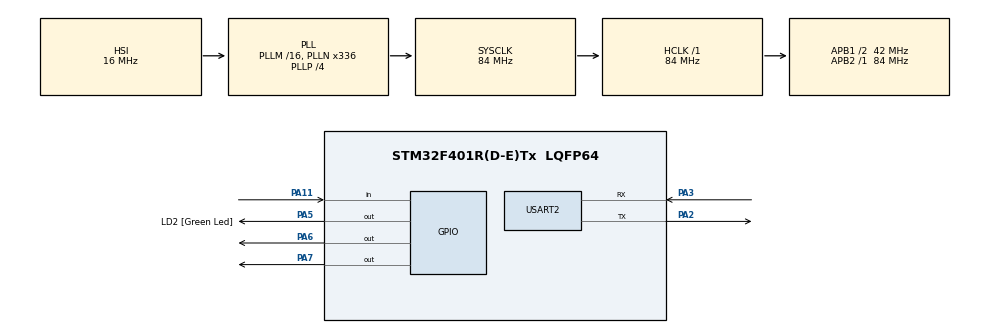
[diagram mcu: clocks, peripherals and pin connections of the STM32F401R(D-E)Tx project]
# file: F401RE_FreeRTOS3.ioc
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FREERTOS.Tasks01=defaultTask,0,128,StartDefaultTask,Default,NULL,Dynamic,NULL,NULL;myTask02,0,128,StartTask02,Default,NULL,Dynamic,NULL,NULL
FREERTOS.Timers01=myTimer01,Callback01,osTimerPeriodic,Default,NULL,Dynamic,NULL;myTimer02,Callback02,osTimerOnce,Default,NULL,Dynamic,NULL
FREERTOS.configTIMER_TASK_PRIORITY=6
FREERTOS.configUSE_NEWLIB_REENTRANT=1
FREERTOS.configUSE_TIMERS=1
Mcu.Family=STM32F4
Mcu.Name=STM32F401R(D-E)Tx
Mcu.Package=LQFP64
NVIC.PriorityGroup=NVIC_PRIORITYGROUP_4
NVIC.TIM4_IRQn=true\:15\:0\:false\:false\:true\:false\:false\:true\:true
NVIC.TimeBase=TIM4_IRQn
NVIC.TimeBaseIP=TIM4
PA11.Signal=GPIO_Input
PA13.GPIO_Label=TMS
PA13.Mode=Serial_Wire
PA13.Signal=SYS_JTMS-SWDIO
PA14.GPIO_Label=TCK
PA14.Mode=Serial_Wire
PA14.Signal=SYS_JTCK-SWCLK
PA2.Mode=Asynchronous
PA2.Signal=USART2_TX
PA3.Mode=Asynchronous
PA3.Signal=USART2_RX
PA5.GPIO_Label=LD2 [Green Led]
PA5.GPIO_Mode=GPIO_MODE_OUTPUT_PP
PA5.GPIO_PuPd=GPIO_NOPULL
PA5.GPIO_Speed=GPIO_SPEED_FREQ_LOW
PA5.Signal=GPIO_Output
PA6.Signal=GPIO_Output
PA7.Signal=GPIO_Output
PB3.GPIO_Label=SWO
PB3.Signal=SYS_JTDO-SWO
PC14-OSC32_IN.Mode=LSE-External-Oscillator
PC14-OSC32_IN.Signal=RCC_OSC32_IN
PC15-OSC32_OUT.Mode=LSE-External-Oscillator
PC15-OSC32_OUT.Signal=RCC_OSC32_OUT
PH0\ -\ OSC_IN.Mode=HSE-External-Oscillator
PH0\ -\ OSC_IN.Signal=RCC_OSC_IN
PH1\ -\ OSC_OUT.Mode=HSE-External-Oscillator
PH1\ -\ OSC_OUT.Signal=RCC_OSC_OUT
ProjectManager.HeapSize=0x200
ProjectManager.StackSize=0x400
ProjectManager.TargetToolchain=STM32CubeIDE
RCC.48MHZClocksFreq_Value=48000000
RCC.AHBFreq_Value=84000000
RCC.APB1CLKDivider=RCC_HCLK_DIV2
RCC.APB1Freq_Value=42000000
RCC.APB1TimFreq_Value=84000000
RCC.APB2Freq_Value=84000000
RCC.APB2TimFreq_Value=84000000
RCC.CortexFreq_Value=84000000
RCC.HCLKFreq_Value=84000000
RCC.HSE_VALUE=8000000
RCC.HSI_VALUE=16000000
RCC.PLLN=336
RCC.PLLP=RCC_PLLP_DIV4
RCC.PLLQ=7
RCC.SYSCLKFreq_VALUE=84000000
RCC.SYSCLKSource=RCC_SYSCLKSOURCE_PLLCLK
RCC.VCOOutputFreq_Value=336000000
USART2.VirtualMode=VM_ASYNC
VP_FREERTOS_VS_CMSIS_V1.Mode=CMSIS_V1
VP_SYS_VS_tim4.Mode=TIM4
board=NUCLEO-F401RE

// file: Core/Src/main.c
/* USER CODE BEGIN Header */
/**
  ******************************************************************************
  * @file           : main.c
  * @brief          : Main program body
  ******************************************************************************
  * @attention
  *
  * Copyright (c) 2023 STMicroelectronics.
  * All rights reserved.
  *
  * This software is licensed under terms that can be found in the LICENSE file
  * in the root directory of this software component.
  * If no LICENSE file comes with this software, it is provided AS-IS.
  *
  ******************************************************************************
  */
/* USER CODE END Header */
#include "main.h"
#include "cmsis_os.h"
#include "usart.h"
#include "gpio.h"

void SystemClock_Config(void);
void MX_FREERTOS_Init(void);

/* USER CODE BEGIN 0 */
int __io_putchar(int ch){
	HAL_UART_Transmit(&huart2, (uint8_t *)&ch, 1, 0xFFFF);
	return ch;
}
/* USER CODE END 0 */

int main(void)
{

  /* MCU Configuration--------------------------------------------------------*/

  /* Reset of all peripherals, Initializes the Flash interface and the Systick. */
  HAL_Init();

  /* Configure the system clock */
  SystemClock_Config();

  /* Initialize all configured peripherals */
  MX_GPIO_Init();
  MX_USART2_UART_Init();

  /* Call init function for freertos objects (in freertos.c) */
  MX_FREERTOS_Init();

  /* Start scheduler */
  osKernelStart();

  /* We should never get here as control is now taken by the scheduler */
  /* Infinite loop */
  while (1)
  {

  }
}

void SystemClock_Config(void)
{
  RCC_OscInitTypeDef RCC_OscInitStruct = {0};
  RCC_ClkInitTypeDef RCC_ClkInitStruct = {0};

  /** Configure the main internal regulator output voltage
  */
  __HAL_RCC_PWR_CLK_ENABLE();
  __HAL_PWR_VOLTAGESCALING_CONFIG(PWR_REGULATOR_VOLTAGE_SCALE2);

  /** Initializes the RCC Oscillators according to the specified parameters
  * in the RCC_OscInitTypeDef structure.
  */
  RCC_OscInitStruct.OscillatorType = RCC_OSCILLATORTYPE_HSI;
  RCC_OscInitStruct.HSIState = RCC_HSI_ON;
  RCC_OscInitStruct.HSICalibrationValue = RCC_HSICALIBRATION_DEFAULT;
  RCC_OscInitStruct.PLL.PLLState = RCC_PLL_ON;
  RCC_OscInitStruct.PLL.PLLSource = RCC_PLLSOURCE_HSI;
  RCC_OscInitStruct.PLL.PLLM = 16;
  RCC_OscInitStruct.PLL.PLLN = 336;
  RCC_OscInitStruct.PLL.PLLP = RCC_PLLP_DIV4;
  RCC_OscInitStruct.PLL.PLLQ = 7;
  if (HAL_RCC_OscConfig(&RCC_OscInitStruct) != HAL_OK)
  {
    Error_Handler();
  }

  /** Initializes the CPU, AHB and APB buses clocks
  */
  RCC_ClkInitStruct.ClockType = RCC_CLOCKTYPE_HCLK|RCC_CLOCKTYPE_SYSCLK
                              |RCC_CLOCKTYPE_PCLK1|RCC_CLOCKTYPE_PCLK2;
  RCC_ClkInitStruct.SYSCLKSource = RCC_SYSCLKSOURCE_PLLCLK;
  RCC_ClkInitStruct.AHBCLKDivider = RCC_SYSCLK_DIV1;
  RCC_ClkInitStruct.APB1CLKDivider = RCC_HCLK_DIV2;
  RCC_ClkInitStruct.APB2CLKDivider = RCC_HCLK_DIV1;

  if (HAL_RCC_ClockConfig(&RCC_ClkInitStruct, FLASH_LATENCY_2) != HAL_OK)
  {
    Error_Handler();
  }
}

void HAL_TIM_PeriodElapsedCallback(TIM_HandleTypeDef *htim)
{
  if (htim->Instance == TIM4) {
    HAL_IncTick();
  }
}

void Error_Handler(void)
{
  __disable_irq();
  while (1)
  {
  }
}

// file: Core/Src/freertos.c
/* USER CODE BEGIN Header */
/**
  ******************************************************************************
  * File Name          : freertos.c
  * Description        : Code for freertos applications
  ******************************************************************************
  * @attention
  *
  * Copyright (c) 2023 STMicroelectronics.
  * All rights reserved.
  *
  * This software is licensed under terms that can be found in the LICENSE file
  * in the root directory of this software component.
  * If no LICENSE file comes with this software, it is provided AS-IS.
  *
  ******************************************************************************
  */
/* USER CODE END Header */

#include "FreeRTOS.h"
#include "task.h"
#include "main.h"
#include "cmsis_os.h"

osThreadId defaultTaskHandle;
osThreadId myTask02Handle;
osTimerId myTimer01Handle;
osTimerId myTimer02Handle;

void StartDefaultTask(void const * argument);
void StartTask02(void const * argument);
void Callback01(void const * argument);
void Callback02(void const * argument);

void MX_FREERTOS_Init(void); /* (MISRA C 2004 rule 8.1) */

/* GetIdleTaskMemory prototype (linked to static allocation support) */
void vApplicationGetIdleTaskMemory( StaticTask_t **ppxIdleTaskTCBBuffer, StackType_t **ppxIdleTaskStackBuffer, uint32_t *pulIdleTaskStackSize );

/* GetTimerTaskMemory prototype (linked to static allocation support) */
void vApplicationGetTimerTaskMemory( StaticTask_t **ppxTimerTaskTCBBuffer, StackType_t **ppxTimerTaskStackBuffer, uint32_t *pulTimerTaskStackSize );

/* USER CODE BEGIN GET_IDLE_TASK_MEMORY */
static StaticTask_t xIdleTaskTCBBuffer;
static StackType_t xIdleStack[configMINIMAL_STACK_SIZE];

void vApplicationGetIdleTaskMemory( StaticTask_t **ppxIdleTaskTCBBuffer, StackType_t **ppxIdleTaskStackBuffer, uint32_t *pulIdleTaskStackSize )
{
  *ppxIdleTaskTCBBuffer = &xIdleTaskTCBBuffer;
  *ppxIdleTaskStackBuffer = &xIdleStack[0];
  *pulIdleTaskStackSize = configMINIMAL_STACK_SIZE;
  /* place for user code */
}
/* USER CODE END GET_IDLE_TASK_MEMORY */

/* USER CODE BEGIN GET_TIMER_TASK_MEMORY */
static StaticTask_t xTimerTaskTCBBuffer;
static StackType_t xTimerStack[configTIMER_TASK_STACK_DEPTH];

void vApplicationGetTimerTaskMemory( StaticTask_t **ppxTimerTaskTCBBuffer, StackType_t **ppxTimerTaskStackBuffer, uint32_t *pulTimerTaskStackSize )
{
  *ppxTimerTaskTCBBuffer = &xTimerTaskTCBBuffer;
  *ppxTimerTaskStackBuffer = &xTimerStack[0];
  *pulTimerTaskStackSize = configTIMER_TASK_STACK_DEPTH;
  /* place for user code */
}
/* USER CODE END GET_TIMER_TASK_MEMORY */

void MX_FREERTOS_Init(void) {

  /* Create the timer(s) */
  /* definition and creation of myTimer01 */
  osTimerDef(myTimer01, Callback01);
  myTimer01Handle = osTimerCreate(osTimer(myTimer01), osTimerPeriodic, NULL);

  /* definition and creation of myTimer02 */
  osTimerDef(myTimer02, Callback02);
  myTimer02Handle = osTimerCreate(osTimer(myTimer02), osTimerOnce, NULL);

  /* Create the thread(s) */
  /* definition and creation of defaultTask */
  osThreadDef(defaultTask, StartDefaultTask, osPriorityNormal, 0, 128);
  defaultTaskHandle = osThreadCreate(osThread(defaultTask), NULL);

  /* definition and creation of myTask02 */
  osThreadDef(myTask02, StartTask02, osPriorityNormal, 0, 128);
  myTask02Handle = osThreadCreate(osThread(myTask02), NULL);

}

void StartDefaultTask(void const * argument)
{
  /* USER CODE BEGIN StartDefaultTask */
	osTimerStart(myTimer01Handle, 1000);
  /* Infinite loop */
  for(;;)
  {
	  printf("Sending from StartDefaultTask\r\n");
	  osDelay(200);
  }
  /* USER CODE END StartDefaultTask */
}

void StartTask02(void const * argument)
{
  /* USER CODE BEGIN StartTask02 */
  /* Infinite loop */
  for(;;)
  {
	  if(HAL_GPIO_ReadPin(GPIOA, GPIO_PIN_11)){
		  HAL_GPIO_WritePin(GPIOA, GPIO_PIN_6, 1);
		  printf("Sending from StartTask02\r\n");
		  osTimerStart(myTimer02Handle, 2000);
	  }
	  osDelay(20);
  }
  /* USER CODE END StartTask02 */
}

/* Callback01 function */
void Callback01(void const * argument)
{
  /* USER CODE BEGIN Callback01 */
	HAL_GPIO_TogglePin(GPIOA, GPIO_PIN_7);
	printf("Sending from Callback\r\n");
  /* USER CODE END Callback01 */
}

/* Callback02 function */
void Callback02(void const * argument)
{
  /* USER CODE BEGIN Callback02 */
	HAL_GPIO_WritePin(GPIOA, GPIO_PIN_6, 0);
	printf("Sending from Callback02\r\n");
  /* USER CODE END Callback02 */
}
